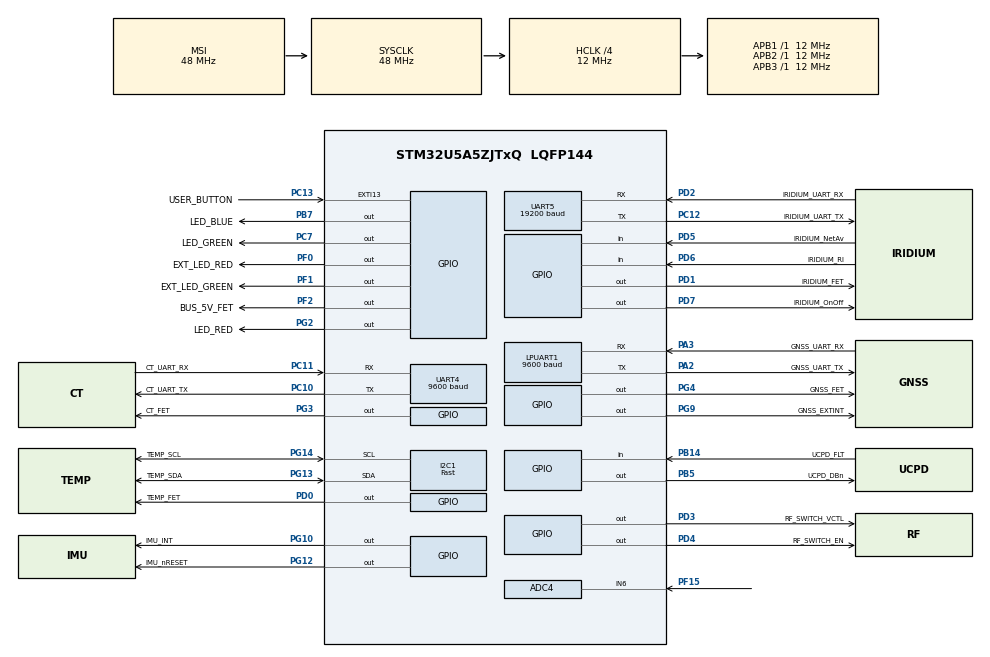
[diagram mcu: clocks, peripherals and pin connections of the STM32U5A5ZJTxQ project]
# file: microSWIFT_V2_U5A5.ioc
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ADC4.Channel-2\#ChannelRegularConversion=ADC_CHANNEL_6
ADC4.Channel-IN=ADC_CHANNEL_VREFINT
ADC4.Channel-IN6=ADC_CHANNEL_6
ADC4.ClockPrescaler=ADC_CLOCK_ASYNC_DIV32
ADC4.ContinuousConvMode=ENABLE
ADC4.DMAContinuousRequests=DISABLE
ADC4.DataAlign=ADC_DATAALIGN_RIGHT
ADC4.EOCSelection=ADC_EOC_SEQ_CONV
ADC4.EnableAnalogWatchDog1=false
ADC4.EnableAnalogWatchDog2=false
ADC4.EnableAnalogWatchDog3=false
ADC4.EnableRegularConversion=ENABLE
ADC4.ExternalTrigConv=ADC_SOFTWARE_START
ADC4.ExternalTrigConvEdge=ADC_EXTERNALTRIGCONVEDGE_NONE
ADC4.LowPowerAutoPowerOff=ADC_LOW_POWER_NONE
ADC4.LowPowerAutoWait=DISABLE
ADC4.ModeADC4=ADC_MODE_INDEPENDENT
ADC4.NbrOfConversion=1
ADC4.OffsetNumber-2\#ChannelRegularConversion=ADC_OFFSET_NONE
ADC4.Overrun=ADC_OVR_DATA_OVERWRITTEN
ADC4.OversamplingMode=DISABLE
ADC4.Rank-2\#ChannelRegularConversion=1
ADC4.Resolution=ADC_RESOLUTION_12B
ADC4.SamplingTime-2\#ChannelRegularConversion=ADC4_SAMPLINGTIME_COMMON_1
ADC4.SamplingTimeCommon1=ADC4_SAMPLETIME_814CYCLES_5
ADC4.SamplingTimeCommon2=ADC4_SAMPLETIME_814CYCLES_5
ADC4.ScanConvMode=ADC4_SCAN_DISABLE
ADC4.SelectedChannel=ADC_CHANNEL_6|ADC_CHANNEL_VREFINT
ADC4.Sequencer=FULLY_CONFIGURABLE
ADC4.TriggerFrequencyMode=ADC_TRIGGER_FREQ_LOW
ADC4.VrefProtection=ADC_VREF_PPROT_VREFPROT
CORTEX_M33_NS.MPU_Control=__NULL
CORTEX_M33_NS.userName=CORTEX_M33
GPDMA1.BLKHWREQUEST_GPDMACH0=DMA_BREQ_SINGLE_BURST
GPDMA1.BLKHWREQUEST_GPDMACH1=DMA_BREQ_SINGLE_BURST
GPDMA1.BLKHWREQUEST_GPDMACH2=DMA_BREQ_SINGLE_BURST
GPDMA1.BLKHWREQUEST_GPDMACH3=DMA_BREQ_SINGLE_BURST
GPDMA1.BLKHWREQUEST_GPDMACH4=DMA_BREQ_SINGLE_BURST
GPDMA1.CIRCULARMODE_GPDMACH0=DISABLE
GPDMA1.CIRCULARMODE_GPDMACH1=DISABLE
GPDMA1.CIRCULARMODE_GPDMACH2=DISABLE
GPDMA1.CIRCULARMODE_GPDMACH3=DISABLE
GPDMA1.CIRCULARMODE_GPDMACH4=DISABLE
GPDMA1.ChannelPRIV_GPDMACH0=DMA_CHANNEL_PRIV
GPDMA1.ChannelPRIV_GPDMACH1=DMA_CHANNEL_NPRIV
GPDMA1.ChannelPRIV_GPDMACH2=DMA_CHANNEL_NPRIV
GPDMA1.ChannelPRIV_GPDMACH3=DMA_CHANNEL_NPRIV
GPDMA1.ChannelPRIV_GPDMACH4=DMA_CHANNEL_NPRIV
GPDMA1.DATAHANDLING_GPDMACH0=NONE
GPDMA1.DATAHANDLING_GPDMACH1=NONE
GPDMA1.DATAHANDLING_GPDMACH2=NONE
GPDMA1.DATAHANDLING_GPDMACH3=NONE
GPDMA1.DATAHANDLING_GPDMACH4=NONE
GPDMA1.DESTBURSTLENGTH_GPDMACH0=1
GPDMA1.DESTBURSTLENGTH_GPDMACH1=1
GPDMA1.DESTBURSTLENGTH_GPDMACH2=1
GPDMA1.DESTBURSTLENGTH_GPDMACH3=1
GPDMA1.DESTBURSTLENGTH_GPDMACH4=1
GPDMA1.DESTDATAWIDTH_GPDMACH0=DMA_DEST_DATAWIDTH_BYTE
GPDMA1.DESTDATAWIDTH_GPDMACH1=DMA_DEST_DATAWIDTH_BYTE
GPDMA1.DESTDATAWIDTH_GPDMACH2=DMA_DEST_DATAWIDTH_BYTE
GPDMA1.DESTDATAWIDTH_GPDMACH3=DMA_DEST_DATAWIDTH_BYTE
GPDMA1.DESTDATAWIDTH_GPDMACH4=DMA_DEST_DATAWIDTH_BYTE
GPDMA1.DESTINC_GPDMACH0=DMA_DINC_INCREMENTED
GPDMA1.DESTINC_GPDMACH1=DMA_DINC_INCREMENTED
GPDMA1.DESTINC_GPDMACH2=DMA_DINC_FIXED
GPDMA1.DESTINC_GPDMACH3=DMA_DINC_INCREMENTED
GPDMA1.DESTINC_GPDMACH4=DMA_DINC_FIXED
GPDMA1.DIRECTION_GPDMACH0=DMA_PERIPH_TO_MEMORY
GPDMA1.DIRECTION_GPDMACH1=DMA_PERIPH_TO_MEMORY
GPDMA1.DIRECTION_GPDMACH2=DMA_MEMORY_TO_PERIPH
GPDMA1.DIRECTION_GPDMACH3=DMA_PERIPH_TO_MEMORY
GPDMA1.DIRECTION_GPDMACH4=DMA_MEMORY_TO_PERIPH
GPDMA1.DMAHANDLE_GPDMACH0=hdmarx
GPDMA1.DMAHANDLE_GPDMACH1=hdmarx
GPDMA1.DMAHANDLE_GPDMACH2=hdmatx
GPDMA1.DMAHANDLE_GPDMACH3=hdmarx
GPDMA1.DMAHANDLE_GPDMACH4=hdmatx
GPDMA1.IPHANDLE_GPDMACH0-SIMPLEREQUEST_GPDMACH0=__NULL
GPDMA1.IPHANDLE_GPDMACH1-SIMPLEREQUEST_GPDMACH1=__NULL
GPDMA1.IPHANDLE_GPDMACH2-SIMPLEREQUEST_GPDMACH2=__NULL
GPDMA1.IPHANDLE_GPDMACH3-SIMPLEREQUEST_GPDMACH3=__NULL
GPDMA1.IPHANDLE_GPDMACH4-SIMPLEREQUEST_GPDMACH4=__NULL
GPDMA1.MODE_GPDMACH0=DMA_NORMAL
GPDMA1.MODE_GPDMACH1=DMA_NORMAL
GPDMA1.MODE_GPDMACH2=DMA_NORMAL
GPDMA1.MODE_GPDMACH3=DMA_NORMAL
GPDMA1.MODE_GPDMACH4=DMA_NORMAL
GPDMA1.PRIORITY_GPDMACH0=DMA_LOW_PRIORITY_LOW_WEIGHT
GPDMA1.PRIORITY_GPDMACH1=DMA_LOW_PRIORITY_HIGH_WEIGHT
GPDMA1.PRIORITY_GPDMACH2=DMA_HIGH_PRIORITY
GPDMA1.PRIORITY_GPDMACH3=DMA_LOW_PRIORITY_HIGH_WEIGHT
GPDMA1.PRIORITY_GPDMACH4=DMA_HIGH_PRIORITY
GPDMA1.RECAP_GPDMACH0=GPDMA1_REQUEST_LPUART1_RX
GPDMA1.RECAP_GPDMACH1=GPDMA1_REQUEST_UART4_RX
GPDMA1.RECAP_GPDMACH2=GPDMA1_REQUEST_UART5_TX
GPDMA1.RECAP_GPDMACH3=GPDMA1_REQUEST_UART5_RX
GPDMA1.RECAP_GPDMACH4=GPDMA1_REQUEST_LPUART1_TX
GPDMA1.REQUEST_GPDMACH0=GPDMA1_REQUEST_LPUART1_RX
GPDMA1.REQUEST_GPDMACH1=GPDMA1_REQUEST_UART4_RX
GPDMA1.REQUEST_GPDMACH2=GPDMA1_REQUEST_UART5_TX
GPDMA1.REQUEST_GPDMACH3=GPDMA1_REQUEST_UART5_RX
GPDMA1.REQUEST_GPDMACH4=GPDMA1_REQUEST_LPUART1_TX
GPDMA1.SRCBURSTLENGTH_GPDMACH0=1
GPDMA1.SRCBURSTLENGTH_GPDMACH1=1
GPDMA1.SRCBURSTLENGTH_GPDMACH2=1
GPDMA1.SRCBURSTLENGTH_GPDMACH3=1
GPDMA1.SRCBURSTLENGTH_GPDMACH4=1
GPDMA1.SRCDATAWIDTH_GPDMACH0=DMA_SRC_DATAWIDTH_BYTE
GPDMA1.SRCDATAWIDTH_GPDMACH1=DMA_SRC_DATAWIDTH_BYTE
GPDMA1.SRCDATAWIDTH_GPDMACH2=DMA_SRC_DATAWIDTH_BYTE
GPDMA1.SRCDATAWIDTH_GPDMACH3=DMA_SRC_DATAWIDTH_BYTE
GPDMA1.SRCDATAWIDTH_GPDMACH4=DMA_SRC_DATAWIDTH_BYTE
GPDMA1.SRCINC_GPDMACH0=DMA_SINC_FIXED
GPDMA1.SRCINC_GPDMACH1=DMA_SINC_FIXED
GPDMA1.SRCINC_GPDMACH2=DMA_SINC_INCREMENTED
GPDMA1.SRCINC_GPDMACH3=DMA_SINC_FIXED
GPDMA1.SRCINC_GPDMACH4=DMA_SINC_INCREMENTED
GPDMA1.TRANSFERALLOCATEDPORTDEST_GPDMACH0=DMA_DEST_ALLOCATED_PORT0
GPDMA1.TRANSFERALLOCATEDPORTDEST_GPDMACH1=DMA_DEST_ALLOCATED_PORT0
GPDMA1.TRANSFERALLOCATEDPORTDEST_GPDMACH2=DMA_DEST_ALLOCATED_PORT0
GPDMA1.TRANSFERALLOCATEDPORTDEST_GPDMACH3=DMA_DEST_ALLOCATED_PORT0
GPDMA1.TRANSFERALLOCATEDPORTDEST_GPDMACH4=DMA_DEST_ALLOCATED_PORT0
GPDMA1.TRANSFERALLOCATEDPORTSRC_GPDMACH0=DMA_SRC_ALLOCATED_PORT0
GPDMA1.TRANSFERALLOCATEDPORTSRC_GPDMACH1=DMA_SRC_ALLOCATED_PORT0
GPDMA1.TRANSFERALLOCATEDPORTSRC_GPDMACH2=DMA_SRC_ALLOCATED_PORT0
GPDMA1.TRANSFERALLOCATEDPORTSRC_GPDMACH3=DMA_SRC_ALLOCATED_PORT0
GPDMA1.TRANSFERALLOCATEDPORTSRC_GPDMACH4=DMA_SRC_ALLOCATED_PORT0
GPDMA1.TRANSFEREVENTMODE_GPDMACH0=DMA_TCEM_BLOCK_TRANSFER
GPDMA1.TRANSFEREVENTMODE_GPDMACH1=DMA_TCEM_BLOCK_TRANSFER
GPDMA1.TRANSFEREVENTMODE_GPDMACH2=DMA_TCEM_BLOCK_TRANSFER
GPDMA1.TRANSFEREVENTMODE_GPDMACH3=DMA_TCEM_BLOCK_TRANSFER
GPDMA1.TRANSFEREVENTMODE_GPDMACH4=DMA_TCEM_BLOCK_TRANSFER
GPDMA1.TRIGGERPOLARITY_GPDMACH0=DMA_TRIG_POLARITY_MASKED
GPDMA1.TRIGGERPOLARITY_GPDMACH1=DMA_TRIG_POLARITY_MASKED
GPDMA1.TRIGGERPOLARITY_GPDMACH2=DMA_TRIG_POLARITY_MASKED
GPDMA1.TRIGGERPOLARITY_GPDMACH3=DMA_TRIG_POLARITY_MASKED
GPDMA1.TRIGGERPOLARITY_GPDMACH4=DMA_TRIG_POLARITY_MASKED
I2C1.AddressingMode=I2C_ADDRESSINGMODE_7BIT
I2C1.Analog_Filter=I2C_ANALOGFILTER_ENABLE
I2C1.AutonomousMode=AUTONOMOUS_MODE_DISABLE
I2C1.DualAddressMode=I2C_DUALADDRESS_DISABLE
I2C1.GeneralCallMode=I2C_GENERALCALL_DISABLE
I2C1.I2C_Coeff_DF=0
I2C1.I2C_Fall_Time=0
I2C1.I2C_Rise_Time=0
I2C1.I2C_Speed_Mode=I2C_Fast
I2C1.NoStretchMode=I2C_NOSTRETCH_DISABLE
I2C1.OwnAddress=0
I2C1.Speed=400
I2C1.Timing=0x00100413
IWDG.EWI=0
IWDG.Prescaler=IWDG_PRESCALER_512
IWDG.Reload=4094
IWDG.Window=4094
LPBAMQUEUE.Interrupt1=DISABLE
LPBAMQUEUE.Interrupt2=DISABLE
LPBAMQUEUE.Interrupt3=DISABLE
LPBAMQUEUE.Interrupt5=DISABLE
LPBAMQUEUE.Interrupt6=DISABLE
LPBAMQUEUE.PRIORITY=DMA_LOW_PRIORITY_LOW_WEIGHT
LPUART1.AutonomousMode=AUTONOMOUS_MODE_DISABLE
LPUART1.BaudRate=9600
LPUART1.ClockPrescaler=UART_PRESCALER_DIV1
LPUART1.DMADisableonRxErrorParam=UART_ADVFEATURE_DMA_ENABLEONRXERROR
LPUART1.DataInvertParam=UART_ADVFEATURE_DATAINV_DISABLE
LPUART1.FIFOMode=UART_FIFOMODE_DISABLE
LPUART1.MSBFirstParam=UART_ADVFEATURE_MSBFIRST_DISABLE
LPUART1.Mode=UART_MODE_TX_RX
LPUART1.OneBitSampling=UART_ONE_BIT_SAMPLE_DISABLE
LPUART1.OverrunDisableParam=UART_ADVFEATURE_OVERRUN_ENABLE
LPUART1.Parity=UART_PARITY_NONE
LPUART1.RXFIFOThreshold=UART_RXFIFO_THRESHOLD_1_8
LPUART1.RxPinLevelInvertParam=UART_ADVFEATURE_RXINV_DISABLE
LPUART1.StopBits=UART_STOPBITS_1
LPUART1.SwapParam=UART_ADVFEATURE_SWAP_DISABLE
LPUART1.TXFIFOThreshold=UART_TXFIFO_THRESHOLD_1_8
LPUART1.TxPinLevelInvertParam=UART_ADVFEATURE_TXINV_DISABLE
LPUART1.WordLength=UART_WORDLENGTH_8B
Mcu.Family=STM32U5
Mcu.Name=STM32U5A5ZJTxQ
Mcu.Package=LQFP144
Mcu.UserConstants=ADC_MICROVOLTS_PER_BIT,3292
NVIC.ADC4_IRQn=true\:0\:0\:false\:false\:true\:false\:false\:true\:true
NVIC.GPDMA1_Channel0_IRQn=true\:0\:0\:false\:false\:true\:false\:true\:false\:true
NVIC.GPDMA1_Channel1_IRQn=true\:0\:0\:false\:false\:true\:false\:true\:false\:true
NVIC.GPDMA1_Channel2_IRQn=true\:0\:0\:false\:false\:true\:false\:true\:false\:true
NVIC.GPDMA1_Channel3_IRQn=true\:0\:0\:false\:false\:true\:false\:true\:false\:true
NVIC.GPDMA1_Channel4_IRQn=true\:0\:0\:false\:false\:true\:false\:true\:false\:true
NVIC.IWDG_IRQn=true\:0\:0\:false\:false\:true\:false\:false\:true\:true
NVIC.LPUART1_IRQn=true\:0\:0\:false\:false\:true\:false\:false\:true\:true
NVIC.PriorityGroup=NVIC_PRIORITYGROUP_3
NVIC.TIM15_IRQn=true\:0\:0\:false\:false\:true\:false\:false\:true\:true
NVIC.TIM16_IRQn=true\:0\:0\:false\:false\:true\:false\:false\:true\:true
NVIC.TIM17_IRQn=true\:0\:0\:false\:false\:true\:false\:false\:true\:true
NVIC.TIM4_IRQn=true\:7\:0\:false\:false\:true\:false\:false\:true\:true
NVIC.TimeBase=TIM4_IRQn
NVIC.TimeBaseIP=TIM4
NVIC.UART4_IRQn=true\:0\:0\:false\:false\:true\:false\:false\:true\:true
NVIC.UART5_IRQn=true\:0\:0\:false\:false\:true\:false\:false\:true\:true
PA10.GPIO_Label=USART1_RX
PA10.GPIO_PuPd=GPIO_PULLDOWN
PA10.GPIO_Speed=GPIO_SPEED_FREQ_VERY_HIGH
PA10.Signal=USART1_RX
PA13\ (JTMS/SWDIO).Mode=Trace_Asynchronous_SW
PA13\ (JTMS/SWDIO).Signal=DEBUG_JTMS-SWDIO
PA14\ (JTCK/SWCLK).Mode=Trace_Asynchronous_SW
PA14\ (JTCK/SWCLK).Signal=DEBUG_JTCK-SWCLK
PA15\ (JTDI).GPIO_Label=UCPD1_CC1
PA15\ (JTDI).Signal=UCPD1_CC1
PA2.GPIO_Label=GNSS_UART_TX
PA2.Mode=Asynchronous
PA2.Signal=LPUART1_TX
PA3.GPIO_Label=GNSS_UART_RX
PA3.Mode=Asynchronous
PA3.Signal=LPUART1_RX
PA9.GPIO_Label=USART1_TX
PA9.GPIO_PuPd=GPIO_PULLDOWN
PA9.GPIO_Speed=GPIO_SPEED_FREQ_VERY_HIGH
PA9.Signal=USART1_TX
PB14.GPIO_Label=UCPD_FLT
PB14.Signal=GPIO_Input
PB15.GPIO_Label=UCPD1_CC2
PB15.Signal=UCPD1_CC2
PB3\ (JTDO/TRACESWO).Mode=Trace_Asynchronous_SW
PB3\ (JTDO/TRACESWO).Signal=DEBUG_JTDO-SWO
PB5.GPIO_Label=UCPD_DBn
PB5.Signal=GPIO_Output
PB7.GPIO_Label=LED_BLUE
PB7.Signal=GPIO_Output
PC10.GPIO_Label=CT_UART_TX
PC10.Mode=Asynchronous
PC10.Signal=UART4_TX
PC11.GPIO_Label=CT_UART_RX
PC11.Mode=Asynchronous
PC11.Signal=UART4_RX
PC12.GPIO_Label=IRIDIUM_UART_TX
PC12.Mode=Asynchronous
PC12.Signal=UART5_TX
PC13.GPIO_Label=USER_BUTTON
PC13.GPIO_ModeDefaultEXTI=GPIO_MODE_IT_FALLING
PC13.Signal=GPXTI13
PC14-OSC32_IN\ (PC14).Mode=LSE-External-Oscillator
PC14-OSC32_IN\ (PC14).Signal=RCC_OSC32_IN
PC15-OSC32_OUT\ (PC15).Mode=LSE-External-Oscillator
PC15-OSC32_OUT\ (PC15).Signal=RCC_OSC32_OUT
PC7.GPIO_Label=LED_GREEN
PC7.GPIO_PuPd=GPIO_PULLUP
PC7.GPIO_Speed=GPIO_SPEED_FREQ_HIGH
PC7.Signal=GPIO_Output
PD0.GPIO_Label=TEMP_FET
PD0.Signal=GPIO_Output
PD1.GPIO_Label=IRIDIUM_FET
PD1.Signal=GPIO_Output
PD2.GPIO_Label=IRIDIUM_UART_RX
PD2.Mode=Asynchronous
PD2.Signal=UART5_RX
PD3.GPIO_Label=RF_SWITCH_VCTL
PD3.Signal=GPIO_Output
PD4.GPIO_Label=RF_SWITCH_EN
PD4.Signal=GPIO_Output
PD5.GPIO_Label=IRIDIUM_NetAv
PD5.Signal=GPIO_Input
PD6.GPIO_Label=IRIDIUM_RI
PD6.Signal=GPIO_Input
PD7.GPIO_Label=IRIDIUM_OnOff
PD7.GPIO_ModeDefaultOutputPP=GPIO_MODE_OUTPUT_OD
PD7.GPIO_PuPd=GPIO_NOPULL
PD7.PinState=GPIO_PIN_SET
PD7.Signal=GPIO_Output
PF0.GPIO_Label=EXT_LED_RED
PF0.Signal=GPIO_Output
PF1.GPIO_Label=EXT_LED_GREEN
PF1.Signal=GPIO_Output
PF15.Mode=IN6
PF15.Signal=ADC4_IN6
PF2.GPIO_Label=BUS_5V_FET
PF2.Signal=GPIO_Output
PG10.GPIO_Label=IMU_INT
PG10.Signal=GPIO_Output
PG12.GPIO_Label=IMU_nRESET
PG12.Signal=GPIO_Output
PG13.GPIO_Label=TEMP_SDA
PG13.Mode=I2C
PG13.Signal=I2C1_SDA
PG14.GPIO_Label=TEMP_SCL
PG14.Mode=I2C
PG14.Signal=I2C1_SCL
PG2.GPIO_Label=LED_RED
PG2.Signal=GPIO_Output
PG3.GPIO_Label=CT_FET
PG3.Signal=GPIO_Output
PG4.GPIO_Label=GNSS_FET
PG4.Signal=GPIO_Output
PG9.GPIO_Label=GNSS_EXTINT
PG9.Signal=GPIO_Output
PWR.DMA2DPowerDownInStopMode=__NULL
PWR.Dcache1PowerDownInStopMode=__NULL
PWR.IcachePowerDownInStopMode=__NULL
PWR.PKA32RAMPowerDownInStopMode=__NULL
PWR.PeriphPowerDownInStopMode=__NULL
PWR.PowerMode=PWR_SMPS_SUPPLY
PWR.RAM1Page1PowerDownInStopMode=__NULL
PWR.RAM1Page2PowerDownInStopMode=__NULL
PWR.RAM1Page3PowerDownInStopMode=__NULL
PWR.RAM2Page1PowerDownInStopMode=__NULL
PWR.RAM2Page2PowerDownInStopMode=__NULL
PWR.RAM3Page1PowerDownInStopMode=__NULL
PWR.RAM3Page2PowerDownInStopMode=__NULL
PWR.RAM3Page3PowerDownInStopMode=__NULL
PWR.RAM3Page4PowerDownInStopMode=__NULL
PWR.RAM3Page5PowerDownInStopMode=__NULL
PWR.RAM3Page6PowerDownInStopMode=__NULL
PWR.RAM3Page7PowerDownInStopMode=__NULL
PWR.RAM3Page8PowerDownInStopMode=__NULL
PWR.SRAM1PowerDownInRunMode=__NULL
PWR.SRAM2PowerDownInRunMode=__NULL
PWR.SRAM3PowerDownInRunMode=__NULL
PWR.SRAM4FastDownInRunMode=__NULL
PWR.SRAM4PowerDownInRunMode=__NULL
PWR.SRAM4PowerDownInStopMode=__NULL
PWR.pwrPrivilege=PWR_PRIVILEGE_NO
ProjectManager.HeapSize=0x200
ProjectManager.StackSize=0x400
ProjectManager.TargetToolchain=STM32CubeIDE
RCC.ADCFreq_Value=16000000
RCC.AHBCLKDivider=RCC_SYSCLK_DIV4
RCC.AHBFreq_Value=12000000
RCC.APB1Freq_Value=12000000
RCC.APB1TimFreq_Value=12000000
RCC.APB2Freq_Value=12000000
RCC.APB2TimFreq_Value=12000000
RCC.APB3Freq_Value=12000000
RCC.CortexFreq_Value=12000000
RCC.EPOD_VALUE=48000000
RCC.HCLKFreq_Value=12000000
RCC.HSE_VALUE=16000000
RCC.HSI48_VALUE=48000000
RCC.HSI_VALUE=16000000
RCC.LSE_Drive_Capability=RCC_LSEDRIVE_HIGH
RCC.LSIDIV_VALUE=32000
RCC.MSIAutoCalibration=PLLMODE_MSIS
RCC.MSIClockRange=RCC_MSIRANGE_0
RCC.MSI_VALUE=48000000
RCC.SYSCLKFreq_VALUE=48000000
RCC.VCOOutputFreq_Value=6192000000
RTC.AsynchPrediv=127
RTC.BinMixBcdU=RTC_BINARY_MIX_BCDU_0
RTC.BinMode=RTC_BINARY_MIX
RTC.Date=2
RTC.DayLightSaving=RTC_DAYLIGHTSAVING_NONE
RTC.Format=RTC_FORMAT_BIN
RTC.HourFormat=RTC_HOURFORMAT_24
RTC.Hours=2
RTC.Minutes=2
RTC.Month=RTC_MONTH_JANUARY
RTC.RTC_PRIVILEGE_FEATURE_ALRA=__NULL
RTC.RTC_PRIVILEGE_FEATURE_ALRB=__NULL
RTC.RTC_PRIVILEGE_FEATURE_CAL=__NULL
RTC.RTC_PRIVILEGE_FEATURE_INIT=__NULL
RTC.RTC_PRIVILEGE_FEATURE_TS=__NULL
RTC.RTC_PRIVILEGE_FEATURE_WUT=__NULL
RTC.SSRU_Underflow_Interrupt=Disable
RTC.Seconds=2
RTC.StoreOperation=RTC_STOREOPERATION_RESET
RTC.SynchPrediv=255
RTC.WeekDay=RTC_WEEKDAY_MONDAY
RTC.Year=0
RTC.backupRegisterPrivZone=RTC_PRIVILEGE_BKUP_ZONE_NONE
RTC.backupRegisterStartZone2_g=0
RTC.backupRegisterStartZone3_g=0
RTC.rtcPrivilegeFull=RTC_PRIVILEGE_FULL_NO
THREADX.TX_APP_MEM_POOL_SIZE=45904
THREADX.TX_MINIMUM_STACK=256
THREADX.TX_TIMER_TICKS_PER_SECOND=10
TIM15.AutoReloadPreload=TIM_AUTORELOAD_PRELOAD_DISABLE
TIM15.ClockDivision=TIM_CLOCKDIVISION_DIV1
TIM15.CounterMode=TIM_COUNTERMODE_UP
TIM15.Dithering=Disable
TIM15.PeriodNoDither=59999
TIM15.Prescaler=12000
TIM15.RepetitionCounter=60
TIM15.TIM_MasterOutputTrigger=TIM_TRGO_RESET
TIM15.TIM_MasterSlaveMode=TIM_MASTERSLAVEMODE_DISABLE
TIM16.AutoReloadPreload=TIM_AUTORELOAD_PRELOAD_DISABLE
TIM16.ClockDivision=TIM_CLOCKDIVISION_DIV1
TIM16.CounterMode=TIM_COUNTERMODE_UP
TIM16.Dithering=Disable
TIM16.PeriodNoDither=59999
TIM16.Prescaler=12000
TIM16.RepetitionCounter=0
TIM17.AutoReloadPreload=TIM_AUTORELOAD_PRELOAD_DISABLE
TIM17.ClockDivision=TIM_CLOCKDIVISION_DIV1
TIM17.CounterMode=TIM_COUNTERMODE_UP
TIM17.Dithering=Disable
TIM17.PeriodNoDither=59999
TIM17.Prescaler=12000
TIM17.RepetitionCounter=10
UART4.AutoBaudRateEnableParam=UART_ADVFEATURE_AUTOBAUDRATE_DISABLE
UART4.AutonomousMode=AUTONOMOUS_MODE_DISABLE
UART4.BaudRate=9600
UART4.ClockPrescaler=PRESCALER_DIV1
UART4.DMADisableonRxErrorParam=UART_ADVFEATURE_DMA_ENABLEONRXERROR
UART4.DataInvertParam=UART_ADVFEATURE_DATAINV_DISABLE
UART4.FIFOMode=FIFOMODE_DISABLE
UART4.MSBFirstParam=UART_ADVFEATURE_MSBFIRST_DISABLE
UART4.Mode=MODE_TX_RX
UART4.OneBitSampling=UART_ONE_BIT_SAMPLE_DISABLE
UART4.OverSampling=UART_OVERSAMPLING_16
UART4.OverrunDisableParam=UART_ADVFEATURE_OVERRUN_ENABLE
UART4.Parity=PARITY_NONE
UART4.RXFIFOThreshold=RXFIFO_THRESHOLD_1EIGHTHFULL
UART4.RxPinLevelInvertParam=UART_ADVFEATURE_RXINV_DISABLE
UART4.StopBits=UART_STOPBITS_1
UART4.SwapParam=UART_ADVFEATURE_SWAP_DISABLE
UART4.TXFIFOThreshold=TXFIFO_THRESHOLD_1EIGHTHFULL
UART4.TxPinLevelInvertParam=UART_ADVFEATURE_TXINV_DISABLE
UART4.WordLength=WORDLENGTH_8B
UART5.AutoBaudRateEnableParam=UART_ADVFEATURE_AUTOBAUDRATE_DISABLE
UART5.AutonomousMode=AUTONOMOUS_MODE_DISABLE
UART5.BaudRate=19200
UART5.ClockPrescaler=PRESCALER_DIV1
UART5.DMADisableonRxErrorParam=UART_ADVFEATURE_DMA_ENABLEONRXERROR
UART5.DataInvertParam=UART_ADVFEATURE_DATAINV_DISABLE
UART5.FIFOMode=FIFOMODE_DISABLE
UART5.MSBFirstParam=UART_ADVFEATURE_MSBFIRST_DISABLE
UART5.Mode=MODE_TX_RX
UART5.OneBitSampling=UART_ONE_BIT_SAMPLE_DISABLE
UART5.OverSampling=UART_OVERSAMPLING_16
UART5.OverrunDisableParam=UART_ADVFEATURE_OVERRUN_ENABLE
UART5.Parity=PARITY_NONE
UART5.RXFIFOThreshold=RXFIFO_THRESHOLD_1EIGHTHFULL
UART5.RxPinLevelInvertParam=UART_ADVFEATURE_RXINV_DISABLE
UART5.StopBits=UART_STOPBITS_1
UART5.SwapParam=UART_ADVFEATURE_SWAP_DISABLE
UART5.TXFIFOThreshold=TXFIFO_THRESHOLD_1EIGHTHFULL
UART5.TxPinLevelInvertParam=UART_ADVFEATURE_TXINV_DISABLE
UART5.WordLength=WORDLENGTH_8B
VP_ADC4_Vref_Input.Mode=IN-Vrefint
VP_GPDMA1_VS_GPDMACH0.Mode=SIMPLEREQUEST_GPDMACH0
VP_GPDMA1_VS_GPDMACH1.Mode=SIMPLEREQUEST_GPDMACH1
VP_GPDMA1_VS_GPDMACH2.Mode=SIMPLEREQUEST_GPDMACH2
VP_GPDMA1_VS_GPDMACH3.Mode=SIMPLEREQUEST_GPDMACH3
VP_GPDMA1_VS_GPDMACH4.Mode=SIMPLEREQUEST_GPDMACH4
VP_ICACHE_VS_ICACHE.Mode=DirectMappedCache
VP_IWDG_VS_IWDG.Mode=IWDG_Activate
VP_LPBAMQUEUE_VS_QUEUE.Mode=QUEUEMODE
VP_LPBAM_VS_SIG1.Mode=SmartRun
VP_LPBAM_VS_SIG4.Mode=LPDMA1
VP_MEMORYMAP_VS_MEMORYMAP.Mode=CurAppReg
VP_PWR_VS_DBSignals.Mode=DisableDeadBatterySignals
VP_PWR_VS_LPOM.Mode=PowerOptimisation
VP_PWR_VS_SECSignals.Mode=Security/Privilege
VP_PWR_Vdda.Mode=isolationVdda
VP_RTC_VS_RTC_Activate.Mode=RTC_Enabled
VP_RTC_VS_RTC_Calendar.Mode=RTC_Calendar
VP_SYS_VS_tim4.Mode=TIM4
VP_THREADX_VS_RTOSJjThreadXJjCoreJjDefault.Mode=Core_Default
VP_TIM15_VS_ClockSourceINT.Mode=Internal
VP_TIM16_VS_ClockSourceINT.Mode=Enable_Timer
VP_TIM17_VS_ClockSourceINT.Mode=Enable_Timer
VREF+.Mode=InternalMode
VREF+.Signal=VREFBUF_OUT
VREFBUF.TrimmingMode=__NULL
VREFBUF.VoltageScaling=SYSCFG_VREFBUF_VOLTAGE_SCALE1
board=NUCLEO-U575ZI-Q

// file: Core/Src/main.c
/* USER CODE BEGIN Header */
/**
  ******************************************************************************
  * @file           : main.c
  * @brief          : Main program body
  ******************************************************************************
  * @attention
  *
  * Copyright (c) 2022 STMicroelectronics.
  * All rights reserved.
  *
  * This software is licensed under terms that can be found in the LICENSE file
  * in the root directory of this software component.
  * If no LICENSE file comes with this software, it is provided AS-IS.
  *
  ******************************************************************************
*/
/* USER CODE END Header */
#include "app_threadx.h"
#include "main.h"

/* USER CODE BEGIN Includes */
#include "tx_api.h"
#include "Peripherals/iridium.h"
/* USER CODE END Includes */

ADC_HandleTypeDef hadc4;

I2C_HandleTypeDef hi2c1;

IWDG_HandleTypeDef hiwdg;

UART_HandleTypeDef hlpuart1;
UART_HandleTypeDef huart4;
UART_HandleTypeDef huart5;
DMA_HandleTypeDef handle_GPDMA1_Channel4;
DMA_HandleTypeDef handle_GPDMA1_Channel0;
DMA_HandleTypeDef handle_GPDMA1_Channel1;
DMA_HandleTypeDef handle_GPDMA1_Channel3;
DMA_HandleTypeDef handle_GPDMA1_Channel2;

RTC_HandleTypeDef hrtc;

TIM_HandleTypeDef htim15;
TIM_HandleTypeDef htim16;
TIM_HandleTypeDef htim17;

/* USER CODE BEGIN PV */
// Messages that failed to send are stored here
__attribute__((section(".noinit_section"))) volatile Iridium_message_storage sbd_message_queue;
__attribute__((section(".noinit_section"))) volatile uint32_t sample_window_counter;
/* USER CODE END PV */

void SystemClock_Config(void);
static void SystemPower_Config(void);
static void MX_GPIO_Init(void);
static void MX_GPDMA1_Init(void);
static void MX_RTC_Init(void);
static void MX_ICACHE_Init(void);
static void MX_UART4_Init(void);
static void MX_UART5_Init(void);
static void MX_ADC4_Init(void);
static void MX_TIM17_Init(void);
static void MX_LPUART1_UART_Init(void);
static void MX_IWDG_Init(void);
static void MX_TIM16_Init(void);
static void MX_TIM15_Init(void);
static void MX_I2C1_Init(void);
/* USER CODE BEGIN PFP */
extern void shut_it_all_down(void);
/* USER CODE END PFP */

int main(void)
{

  /* MCU Configuration--------------------------------------------------------*/

  /* Reset of all peripherals, Initializes the Flash interface and the Systick. */
  HAL_Init();

  /* USER CODE BEGIN Init */
  // Force the reset of the RTC and clear anything in the backup domain
  HAL_PWR_EnableBkUpAccess();
  __HAL_RCC_BACKUPRESET_FORCE();
  __HAL_RCC_BACKUPRESET_RELEASE();
  /* USER CODE END Init */

  /* Configure the system clock */
  SystemClock_Config();

  /* Configure the System Power */
  SystemPower_Config();

  /* USER CODE BEGIN SysInit */
  /*
   * !!!!!!!!!!!!!!!!!!!!!!!!!!!!!!!!!!!!!!!!!!!!!!!!!!!!!!!!!!!!!!!!!!!!!!!!!!!!!
   *
   * DO
   * NOT
   * EVER
   * CALL
   *
   * HAL_DBGMCU_EnableDBGStopMode()
   *
   * WHEN
   * USING
   * RTC
   * AS
   * WAKEUP
   * SOURCE!!!
   *
   * RE-READ
   * THE
   * ERRATA
   * IF
   * YOU'VE
   * FORGOTTEN
   * WHY
   * !!!!!!!!!!!!!!!!!!!!!!!!!!!!!!!!!!!!!!!!!!!!!!!!!!!!!!!!!!!!!!!!!!!!!!!!!!!!!
   */

  /* USER CODE END SysInit */

  /* Initialize all configured peripherals */
  MX_GPIO_Init();
  MX_GPDMA1_Init();
  MX_RTC_Init();
  MX_ICACHE_Init();
  MX_UART4_Init();
  MX_UART5_Init();
  MX_ADC4_Init();
  MX_TIM17_Init();
  MX_LPUART1_UART_Init();
  MX_IWDG_Init();
  MX_TIM16_Init();
  MX_TIM15_Init();
  MX_I2C1_Init();
  /* USER CODE BEGIN 2 */

  uint32_t reset_reason = HAL_RCC_GetResetSource();

  device_handles_t handles;

  handles.hrtc = &hrtc;
  handles.CT_uart = &huart4;
  handles.Iridium_uart = &huart5;
  handles.GNSS_uart = &hlpuart1;
  handles.CT_dma_handle = &handle_GPDMA1_Channel1;
  handles.GNSS_rx_dma_handle = &handle_GPDMA1_Channel0;
  handles.GNSS_tx_dma_handle = &handle_GPDMA1_Channel4;
  handles.Iridium_tx_dma_handle = &handle_GPDMA1_Channel2;
  handles.Iridium_rx_dma_handle = &handle_GPDMA1_Channel3;
  handles.iridium_timer = &htim17;
  handles.gnss_timer = &htim16;
  handles.watchdog_handle = &hiwdg;
  handles.watchdog_hour_timer = &htim15;
  handles.battery_adc = &hadc4;
  handles.reset_reason = reset_reason;
  handles.temp_i2c_handle = &hi2c1;

  MX_ThreadX_Init(&handles);
  /* USER CODE END 2 */

  /* We should never get here as control is now taken by the scheduler */
  /* Infinite loop */
  /* USER CODE BEGIN WHILE */
  while (1)
  {
	  shut_it_all_down();
	  HAL_NVIC_SystemReset();
    /* USER CODE END WHILE */

  }
}

void SystemClock_Config(void)
{
  RCC_OscInitTypeDef RCC_OscInitStruct = {0};
  RCC_ClkInitTypeDef RCC_ClkInitStruct = {0};

  /** Configure the main internal regulator output voltage
  */
  if (HAL_PWREx_ControlVoltageScaling(PWR_REGULATOR_VOLTAGE_SCALE3) != HAL_OK)
  {
    Error_Handler();
  }

  /** Configure LSE Drive Capability
  */
  HAL_PWR_EnableBkUpAccess();
  __HAL_RCC_LSEDRIVE_CONFIG(RCC_LSEDRIVE_HIGH);

  /** Initializes the CPU, AHB and APB buses clocks
  */
  RCC_OscInitStruct.OscillatorType = RCC_OSCILLATORTYPE_HSI|RCC_OSCILLATORTYPE_LSI
                              |RCC_OSCILLATORTYPE_LSE|RCC_OSCILLATORTYPE_MSI;
  RCC_OscInitStruct.LSEState = RCC_LSE_ON;
  RCC_OscInitStruct.HSIState = RCC_HSI_ON;
  RCC_OscInitStruct.HSICalibrationValue = RCC_HSICALIBRATION_DEFAULT;
  RCC_OscInitStruct.LSIState = RCC_LSI_ON;
  RCC_OscInitStruct.MSIState = RCC_MSI_ON;
  RCC_OscInitStruct.MSICalibrationValue = RCC_MSICALIBRATION_DEFAULT;
  RCC_OscInitStruct.MSIClockRange = RCC_MSIRANGE_0;
  RCC_OscInitStruct.LSIDiv = RCC_LSI_DIV1;
  RCC_OscInitStruct.PLL.PLLState = RCC_PLL_NONE;
  if (HAL_RCC_OscConfig(&RCC_OscInitStruct) != HAL_OK)
  {
    Error_Handler();
  }

  /** Initializes the CPU, AHB and APB buses clocks
  */
  RCC_ClkInitStruct.ClockType = RCC_CLOCKTYPE_HCLK|RCC_CLOCKTYPE_SYSCLK
                              |RCC_CLOCKTYPE_PCLK1|RCC_CLOCKTYPE_PCLK2
                              |RCC_CLOCKTYPE_PCLK3;
  RCC_ClkInitStruct.SYSCLKSource = RCC_SYSCLKSOURCE_MSI;
  RCC_ClkInitStruct.AHBCLKDivider = RCC_SYSCLK_DIV4;
  RCC_ClkInitStruct.APB1CLKDivider = RCC_HCLK_DIV1;
  RCC_ClkInitStruct.APB2CLKDivider = RCC_HCLK_DIV1;
  RCC_ClkInitStruct.APB3CLKDivider = RCC_HCLK_DIV1;

  if (HAL_RCC_ClockConfig(&RCC_ClkInitStruct, FLASH_LATENCY_0) != HAL_OK)
  {
    Error_Handler();
  }

  /** Enable MSI Auto calibration
  */
  HAL_RCCEx_EnableMSIPLLModeSelection(RCC_MSISPLL_MODE_SEL);
  HAL_RCCEx_EnableMSIPLLMode();
}

/**
  * @brief Power Configuration
  * @retval None
  */
static void SystemPower_Config(void)
{
  HAL_PWREx_EnableVddIO2();

  /*
   * Disable the internal Pull-Up in Dead Battery pins of UCPD peripheral
   */
  HAL_PWREx_DisableUCPDDeadBattery();

  /*
   * Switch to SMPS regulator instead of LDO
   */
  if (HAL_PWREx_ConfigSupply(PWR_SMPS_SUPPLY) != HAL_OK)
  {
    Error_Handler();
  }
}

static void MX_ADC4_Init(void)
{

  ADC_ChannelConfTypeDef sConfig = {0};

  /** Common config
  */
  hadc4.Instance = ADC4;
  hadc4.Init.ClockPrescaler = ADC_CLOCK_ASYNC_DIV32;
  hadc4.Init.Resolution = ADC_RESOLUTION_12B;
  hadc4.Init.DataAlign = ADC_DATAALIGN_RIGHT;
  hadc4.Init.ScanConvMode = ADC4_SCAN_DISABLE;
  hadc4.Init.EOCSelection = ADC_EOC_SEQ_CONV;
  hadc4.Init.LowPowerAutoPowerOff = ADC_LOW_POWER_NONE;
  hadc4.Init.LowPowerAutoWait = DISABLE;
  hadc4.Init.ContinuousConvMode = ENABLE;
  hadc4.Init.NbrOfConversion = 1;
  hadc4.Init.ExternalTrigConv = ADC_SOFTWARE_START;
  hadc4.Init.ExternalTrigConvEdge = ADC_EXTERNALTRIGCONVEDGE_NONE;
  hadc4.Init.DMAContinuousRequests = DISABLE;
  hadc4.Init.TriggerFrequencyMode = ADC_TRIGGER_FREQ_LOW;
  hadc4.Init.VrefProtection = ADC_VREF_PPROT_VREFPROT;
  hadc4.Init.Overrun = ADC_OVR_DATA_OVERWRITTEN;
  hadc4.Init.SamplingTimeCommon1 = ADC4_SAMPLETIME_814CYCLES_5;
  hadc4.Init.SamplingTimeCommon2 = ADC4_SAMPLETIME_814CYCLES_5;
  hadc4.Init.OversamplingMode = DISABLE;
  if (HAL_ADC_Init(&hadc4) != HAL_OK)
  {
    Error_Handler();
  }

  /** Configure Regular Channel
  */
  sConfig.Channel = ADC_CHANNEL_6;
  sConfig.Rank = ADC_REGULAR_RANK_1;
  sConfig.SamplingTime = ADC4_SAMPLINGTIME_COMMON_1;
  sConfig.OffsetNumber = ADC_OFFSET_NONE;
  sConfig.Offset = 0;
  if (HAL_ADC_ConfigChannel(&hadc4, &sConfig) != HAL_OK)
  {
    Error_Handler();
  }

}

static void MX_GPDMA1_Init(void)
{

  /* Peripheral clock enable */
  __HAL_RCC_GPDMA1_CLK_ENABLE();

  /* GPDMA1 interrupt Init */
    HAL_NVIC_SetPriority(GPDMA1_Channel0_IRQn, 0, 0);
    HAL_NVIC_EnableIRQ(GPDMA1_Channel0_IRQn);
    HAL_NVIC_SetPriority(GPDMA1_Channel1_IRQn, 0, 0);
    HAL_NVIC_EnableIRQ(GPDMA1_Channel1_IRQn);
    HAL_NVIC_SetPriority(GPDMA1_Channel2_IRQn, 0, 0);
    HAL_NVIC_EnableIRQ(GPDMA1_Channel2_IRQn);
    HAL_NVIC_SetPriority(GPDMA1_Channel3_IRQn, 0, 0);
    HAL_NVIC_EnableIRQ(GPDMA1_Channel3_IRQn);
    HAL_NVIC_SetPriority(GPDMA1_Channel4_IRQn, 0, 0);
    HAL_NVIC_EnableIRQ(GPDMA1_Channel4_IRQn);

  /* USER CODE BEGIN GPDMA1_Init 1 */
#if !CT_ENABLED
    HAL_NVIC_DisableIRQ(GPDMA1_Channel1_IRQn);
#endif

  /* USER CODE END GPDMA1_Init 1 */

}

static void MX_I2C1_Init(void)
{

  hi2c1.Instance = I2C1;
  hi2c1.Init.Timing = 0x00100413;
  hi2c1.Init.OwnAddress1 = 0;
  hi2c1.Init.AddressingMode = I2C_ADDRESSINGMODE_7BIT;
  hi2c1.Init.DualAddressMode = I2C_DUALADDRESS_DISABLE;
  hi2c1.Init.OwnAddress2 = 0;
  hi2c1.Init.OwnAddress2Masks = I2C_OA2_NOMASK;
  hi2c1.Init.GeneralCallMode = I2C_GENERALCALL_DISABLE;
  hi2c1.Init.NoStretchMode = I2C_NOSTRETCH_DISABLE;
  if (HAL_I2C_Init(&hi2c1) != HAL_OK)
  {
    Error_Handler();
  }

  /** Configure Analogue filter
  */
  if (HAL_I2CEx_ConfigAnalogFilter(&hi2c1, I2C_ANALOGFILTER_ENABLE) != HAL_OK)
  {
    Error_Handler();
  }

  /** Configure Digital filter
  */
  if (HAL_I2CEx_ConfigDigitalFilter(&hi2c1, 0) != HAL_OK)
  {
    Error_Handler();
  }

}

static void MX_ICACHE_Init(void)
{

  /** Enable instruction cache in 1-way (direct mapped cache)
  */
  if (HAL_ICACHE_ConfigAssociativityMode(ICACHE_1WAY) != HAL_OK)
  {
    Error_Handler();
  }
  if (HAL_ICACHE_Enable() != HAL_OK)
  {
    Error_Handler();
  }

}

static void MX_IWDG_Init(void)
{

  hiwdg.Instance = IWDG;
  hiwdg.Init.Prescaler = IWDG_PRESCALER_512;
  hiwdg.Init.Window = 4094;
  hiwdg.Init.Reload = 4094;
  hiwdg.Init.EWI = 0;
  if (HAL_IWDG_Init(&hiwdg) != HAL_OK)
  {
    Error_Handler();
  }

}

static void MX_LPUART1_UART_Init(void)
{

  hlpuart1.Instance = LPUART1;
  hlpuart1.Init.BaudRate = 9600;
  hlpuart1.Init.WordLength = UART_WORDLENGTH_8B;
  hlpuart1.Init.StopBits = UART_STOPBITS_1;
  hlpuart1.Init.Parity = UART_PARITY_NONE;
  hlpuart1.Init.Mode = UART_MODE_TX_RX;
  hlpuart1.Init.HwFlowCtl = UART_HWCONTROL_NONE;
  hlpuart1.Init.OneBitSampling = UART_ONE_BIT_SAMPLE_DISABLE;
  hlpuart1.AdvancedInit.AdvFeatureInit = UART_ADVFEATURE_NO_INIT;
  hlpuart1.FifoMode = UART_FIFOMODE_DISABLE;
  if (HAL_UART_Init(&hlpuart1) != HAL_OK)
  {
    Error_Handler();
  }
  if (HAL_UARTEx_SetTxFifoThreshold(&hlpuart1, UART_TXFIFO_THRESHOLD_1_8) != HAL_OK)
  {
    Error_Handler();
  }
  if (HAL_UARTEx_SetRxFifoThreshold(&hlpuart1, UART_RXFIFO_THRESHOLD_1_8) != HAL_OK)
  {
    Error_Handler();
  }
  if (HAL_UARTEx_DisableFifoMode(&hlpuart1) != HAL_OK)
  {
    Error_Handler();
  }

}

static void MX_UART4_Init(void)
{

  huart4.Instance = UART4;
  huart4.Init.BaudRate = 9600;
  huart4.Init.WordLength = UART_WORDLENGTH_8B;
  huart4.Init.StopBits = UART_STOPBITS_1;
  huart4.Init.Parity = UART_PARITY_NONE;
  huart4.Init.Mode = UART_MODE_TX_RX;
  huart4.Init.HwFlowCtl = UART_HWCONTROL_NONE;
  huart4.Init.OverSampling = UART_OVERSAMPLING_16;
  huart4.Init.OneBitSampling = UART_ONE_BIT_SAMPLE_DISABLE;
  huart4.Init.ClockPrescaler = UART_PRESCALER_DIV1;
  huart4.AdvancedInit.AdvFeatureInit = UART_ADVFEATURE_NO_INIT;
  if (HAL_UART_Init(&huart4) != HAL_OK)
  {
    Error_Handler();
  }
  if (HAL_UARTEx_SetTxFifoThreshold(&huart4, UART_TXFIFO_THRESHOLD_1_8) != HAL_OK)
  {
    Error_Handler();
  }
  if (HAL_UARTEx_SetRxFifoThreshold(&huart4, UART_RXFIFO_THRESHOLD_1_8) != HAL_OK)
  {
    Error_Handler();
  }
  if (HAL_UARTEx_DisableFifoMode(&huart4) != HAL_OK)
  {
    Error_Handler();
  }

}

static void MX_UART5_Init(void)
{

  huart5.Instance = UART5;
  huart5.Init.BaudRate = 19200;
  huart5.Init.WordLength = UART_WORDLENGTH_8B;
  huart5.Init.StopBits = UART_STOPBITS_1;
  huart5.Init.Parity = UART_PARITY_NONE;
  huart5.Init.Mode = UART_MODE_TX_RX;
  huart5.Init.HwFlowCtl = UART_HWCONTROL_NONE;
  huart5.Init.OverSampling = UART_OVERSAMPLING_16;
  huart5.Init.OneBitSampling = UART_ONE_BIT_SAMPLE_DISABLE;
  huart5.Init.ClockPrescaler = UART_PRESCALER_DIV1;
  huart5.AdvancedInit.AdvFeatureInit = UART_ADVFEATURE_NO_INIT;
  if (HAL_UART_Init(&huart5) != HAL_OK)
  {
    Error_Handler();
  }
  if (HAL_UARTEx_SetTxFifoThreshold(&huart5, UART_TXFIFO_THRESHOLD_1_8) != HAL_OK)
  {
    Error_Handler();
  }
  if (HAL_UARTEx_SetRxFifoThreshold(&huart5, UART_RXFIFO_THRESHOLD_1_8) != HAL_OK)
  {
    Error_Handler();
  }
  if (HAL_UARTEx_DisableFifoMode(&huart5) != HAL_OK)
  {
    Error_Handler();
  }

}

static void MX_RTC_Init(void)
{

  RTC_PrivilegeStateTypeDef privilegeState = {0};
  RTC_TimeTypeDef sTime = {0};
  RTC_DateTypeDef sDate = {0};

  /** Initialize RTC Only
  */
  hrtc.Instance = RTC;
  hrtc.Init.HourFormat = RTC_HOURFORMAT_24;
  hrtc.Init.AsynchPrediv = 127;
  hrtc.Init.SynchPrediv = 255;
  hrtc.Init.OutPut = RTC_OUTPUT_DISABLE;
  hrtc.Init.OutPutRemap = RTC_OUTPUT_REMAP_NONE;
  hrtc.Init.OutPutPolarity = RTC_OUTPUT_POLARITY_HIGH;
  hrtc.Init.OutPutType = RTC_OUTPUT_TYPE_OPENDRAIN;
  hrtc.Init.OutPutPullUp = RTC_OUTPUT_PULLUP_NONE;
  hrtc.Init.BinMode = RTC_BINARY_MIX;
  hrtc.Init.BinMixBcdU = RTC_BINARY_MIX_BCDU_0;
  if (HAL_RTC_Init(&hrtc) != HAL_OK)
  {
    Error_Handler();
  }
  privilegeState.rtcPrivilegeFull = RTC_PRIVILEGE_FULL_NO;
  privilegeState.backupRegisterPrivZone = RTC_PRIVILEGE_BKUP_ZONE_NONE;
  privilegeState.backupRegisterStartZone2 = RTC_BKP_DR0;
  privilegeState.backupRegisterStartZone3 = RTC_BKP_DR0;
  if (HAL_RTCEx_PrivilegeModeSet(&hrtc, &privilegeState) != HAL_OK)
  {
    Error_Handler();
  }

  /** Initialize RTC and set the Time and Date
  */
  sTime.Hours = 2;
  sTime.Minutes = 2;
  sTime.Seconds = 2;
  sTime.DayLightSaving = RTC_DAYLIGHTSAVING_NONE;
  sTime.StoreOperation = RTC_STOREOPERATION_RESET;
  if (HAL_RTC_SetTime(&hrtc, &sTime, RTC_FORMAT_BIN) != HAL_OK)
  {
    Error_Handler();
  }
  sDate.WeekDay = RTC_WEEKDAY_MONDAY;
  sDate.Month = RTC_MONTH_JANUARY;
  sDate.Date = 2;
  sDate.Year = 0;

  if (HAL_RTC_SetDate(&hrtc, &sDate, RTC_FORMAT_BIN) != HAL_OK)
  {
    Error_Handler();
  }
  /* USER CODE BEGIN RTC_Init 2 */

  // Enable RTC low power calibration
  if (HAL_RTCEx_SetLowPowerCalib(&hrtc, RTC_LPCAL_SET) != HAL_OK)
  {
	  Error_Handler();
  }
  HAL_NVIC_SetPriority(RTC_IRQn, 1, 1);
  /* USER CODE END RTC_Init 2 */

}

static void MX_TIM15_Init(void)
{

  TIM_ClockConfigTypeDef sClockSourceConfig = {0};
  TIM_MasterConfigTypeDef sMasterConfig = {0};

  htim15.Instance = TIM15;
  htim15.Init.Prescaler = 12000;
  htim15.Init.CounterMode = TIM_COUNTERMODE_UP;
  htim15.Init.Period = 59999;
  htim15.Init.ClockDivision = TIM_CLOCKDIVISION_DIV1;
  htim15.Init.RepetitionCounter = 60;
  htim15.Init.AutoReloadPreload = TIM_AUTORELOAD_PRELOAD_DISABLE;
  if (HAL_TIM_Base_Init(&htim15) != HAL_OK)
  {
    Error_Handler();
  }
  sClockSourceConfig.ClockSource = TIM_CLOCKSOURCE_INTERNAL;
  if (HAL_TIM_ConfigClockSource(&htim15, &sClockSourceConfig) != HAL_OK)
  {
    Error_Handler();
  }
  sMasterConfig.MasterOutputTrigger = TIM_TRGO_RESET;
  sMasterConfig.MasterSlaveMode = TIM_MASTERSLAVEMODE_DISABLE;
  if (HAL_TIMEx_MasterConfigSynchronization(&htim15, &sMasterConfig) != HAL_OK)
  {
    Error_Handler();
  }
  /* USER CODE BEGIN TIM15_Init 2 */
  HAL_TIM_Base_Start_IT(&htim15);
  /* USER CODE END TIM15_Init 2 */

}

static void MX_TIM16_Init(void)
{

  htim16.Instance = TIM16;
  htim16.Init.Prescaler = 12000;
  htim16.Init.CounterMode = TIM_COUNTERMODE_UP;
  htim16.Init.Period = 59999;
  htim16.Init.ClockDivision = TIM_CLOCKDIVISION_DIV1;
  htim16.Init.RepetitionCounter = 0;
  htim16.Init.AutoReloadPreload = TIM_AUTORELOAD_PRELOAD_DISABLE;
  if (HAL_TIM_Base_Init(&htim16) != HAL_OK)
  {
    Error_Handler();
  }

}

static void MX_TIM17_Init(void)
{

  htim17.Instance = TIM17;
  htim17.Init.Prescaler = 12000;
  htim17.Init.CounterMode = TIM_COUNTERMODE_UP;
  htim17.Init.Period = 59999;
  htim17.Init.ClockDivision = TIM_CLOCKDIVISION_DIV1;
  htim17.Init.RepetitionCounter = 10;
  htim17.Init.AutoReloadPreload = TIM_AUTORELOAD_PRELOAD_DISABLE;
  if (HAL_TIM_Base_Init(&htim17) != HAL_OK)
  {
    Error_Handler();
  }

}

static void MX_GPIO_Init(void)
{
  GPIO_InitTypeDef GPIO_InitStruct = {0};

  /* GPIO Ports Clock Enable */
  __HAL_RCC_GPIOE_CLK_ENABLE();
  __HAL_RCC_GPIOC_CLK_ENABLE();
  __HAL_RCC_GPIOF_CLK_ENABLE();
  __HAL_RCC_GPIOH_CLK_ENABLE();
  __HAL_RCC_GPIOA_CLK_ENABLE();
  __HAL_RCC_GPIOB_CLK_ENABLE();
  __HAL_RCC_GPIOG_CLK_ENABLE();
  __HAL_RCC_GPIOD_CLK_ENABLE();

  /*Configure GPIO pin Output Level */
  HAL_GPIO_WritePin(GPIOF, EXT_LED_RED_Pin|EXT_LED_GREEN_Pin|BUS_5V_FET_Pin, GPIO_PIN_RESET);

  /*Configure GPIO pin Output Level */
  HAL_GPIO_WritePin(GPIOG, LED_RED_Pin|CT_FET_Pin|GNSS_FET_Pin|GNSS_EXTINT_Pin
                          |IMU_INT_Pin|IMU_nRESET_Pin, GPIO_PIN_RESET);

  /*Configure GPIO pin Output Level */
  HAL_GPIO_WritePin(LED_GREEN_GPIO_Port, LED_GREEN_Pin, GPIO_PIN_RESET);

  /*Configure GPIO pin Output Level */
  HAL_GPIO_WritePin(GPIOD, TEMP_FET_Pin|IRIDIUM_FET_Pin|RF_SWITCH_VCTL_Pin|RF_SWITCH_EN_Pin, GPIO_PIN_RESET);

  /*Configure GPIO pin Output Level */
  HAL_GPIO_WritePin(IRIDIUM_OnOff_GPIO_Port, IRIDIUM_OnOff_Pin, GPIO_PIN_SET);

  /*Configure GPIO pin Output Level */
  HAL_GPIO_WritePin(GPIOB, UCPD_DBn_Pin|LED_BLUE_Pin, GPIO_PIN_RESET);

  /*Configure GPIO pins : PE2 PE3 PE4 PE5
                           PE6 PE7 PE8 PE9
                           PE10 PE11 PE12 PE13
                           PE14 PE15 PE0 PE1 */
  GPIO_InitStruct.Pin = GPIO_PIN_2|GPIO_PIN_3|GPIO_PIN_4|GPIO_PIN_5
                          |GPIO_PIN_6|GPIO_PIN_7|GPIO_PIN_8|GPIO_PIN_9
                          |GPIO_PIN_10|GPIO_PIN_11|GPIO_PIN_12|GPIO_PIN_13
                          |GPIO_PIN_14|GPIO_PIN_15|GPIO_PIN_0|GPIO_PIN_1;
  GPIO_InitStruct.Mode = GPIO_MODE_ANALOG;
  GPIO_InitStruct.Pull = GPIO_NOPULL;
  HAL_GPIO_Init(GPIOE, &GPIO_InitStruct);

  /*Configure GPIO pin : USER_BUTTON_Pin */
  GPIO_InitStruct.Pin = USER_BUTTON_Pin;
  GPIO_InitStruct.Mode = GPIO_MODE_IT_FALLING;
  GPIO_InitStruct.Pull = GPIO_NOPULL;
  HAL_GPIO_Init(USER_BUTTON_GPIO_Port, &GPIO_InitStruct);

  /*Configure GPIO pins : EXT_LED_RED_Pin EXT_LED_GREEN_Pin BUS_5V_FET_Pin */
  GPIO_InitStruct.Pin = EXT_LED_RED_Pin|EXT_LED_GREEN_Pin|BUS_5V_FET_Pin;
  GPIO_InitStruct.Mode = GPIO_MODE_OUTPUT_PP;
  GPIO_InitStruct.Pull = GPIO_NOPULL;
  GPIO_InitStruct.Speed = GPIO_SPEED_FREQ_LOW;
  HAL_GPIO_Init(GPIOF, &GPIO_InitStruct);

  /*Configure GPIO pins : PF3 PF4 PF5 PF6
                           PF7 PF8 PF9 PF10
                           PF11 PF12 PF13 PF14 */
  GPIO_InitStruct.Pin = GPIO_PIN_3|GPIO_PIN_4|GPIO_PIN_5|GPIO_PIN_6
                          |GPIO_PIN_7|GPIO_PIN_8|GPIO_PIN_9|GPIO_PIN_10
                          |GPIO_PIN_11|GPIO_PIN_12|GPIO_PIN_13|GPIO_PIN_14;
  GPIO_InitStruct.Mode = GPIO_MODE_ANALOG;
  GPIO_InitStruct.Pull = GPIO_NOPULL;
  HAL_GPIO_Init(GPIOF, &GPIO_InitStruct);

  /*Configure GPIO pins : PH0 PH1 PH3 */
  GPIO_InitStruct.Pin = GPIO_PIN_0|GPIO_PIN_1|GPIO_PIN_3;
  GPIO_InitStruct.Mode = GPIO_MODE_ANALOG;
  GPIO_InitStruct.Pull = GPIO_NOPULL;
  HAL_GPIO_Init(GPIOH, &GPIO_InitStruct);

  /*Configure GPIO pins : PC0 PC1 PC2 PC3
                           PC6 PC8 PC9 */
  GPIO_InitStruct.Pin = GPIO_PIN_0|GPIO_PIN_1|GPIO_PIN_2|GPIO_PIN_3
                          |GPIO_PIN_6|GPIO_PIN_8|GPIO_PIN_9;
  GPIO_InitStruct.Mode = GPIO_MODE_ANALOG;
  GPIO_InitStruct.Pull = GPIO_NOPULL;
  HAL_GPIO_Init(GPIOC, &GPIO_InitStruct);

  /*Configure GPIO pins : PA0 PA1 PA4 PA5
                           PA6 PA7 PA8 PA11
                           PA12 UCPD1_CC1_Pin */
  GPIO_InitStruct.Pin = GPIO_PIN_0|GPIO_PIN_1|GPIO_PIN_4|GPIO_PIN_5
                          |GPIO_PIN_6|GPIO_PIN_7|GPIO_PIN_8|GPIO_PIN_11
                          |GPIO_PIN_12|UCPD1_CC1_Pin;
  GPIO_InitStruct.Mode = GPIO_MODE_ANALOG;
  GPIO_InitStruct.Pull = GPIO_NOPULL;
  HAL_GPIO_Init(GPIOA, &GPIO_InitStruct);

  /*Configure GPIO pins : PB0 PB1 PB2 PB10
                           PB11 PB13 UCPD1_CC2_Pin PB4
                           PB6 PB8 PB9 */
  GPIO_InitStruct.Pin = GPIO_PIN_0|GPIO_PIN_1|GPIO_PIN_2|GPIO_PIN_10
                          |GPIO_PIN_11|GPIO_PIN_13|UCPD1_CC2_Pin|GPIO_PIN_4
                          |GPIO_PIN_6|GPIO_PIN_8|GPIO_PIN_9;
  GPIO_InitStruct.Mode = GPIO_MODE_ANALOG;
  GPIO_InitStruct.Pull = GPIO_NOPULL;
  HAL_GPIO_Init(GPIOB, &GPIO_InitStruct);

  /*Configure GPIO pins : PG0 PG1 PG5 PG6
                           PG7 PG8 PG15 */
  GPIO_InitStruct.Pin = GPIO_PIN_0|GPIO_PIN_1|GPIO_PIN_5|GPIO_PIN_6
                          |GPIO_PIN_7|GPIO_PIN_8|GPIO_PIN_15;
  GPIO_InitStruct.Mode = GPIO_MODE_ANALOG;
  GPIO_InitStruct.Pull = GPIO_NOPULL;
  HAL_GPIO_Init(GPIOG, &GPIO_InitStruct);

  /*Configure GPIO pin : UCPD_FLT_Pin */
  GPIO_InitStruct.Pin = UCPD_FLT_Pin;
  GPIO_InitStruct.Mode = GPIO_MODE_INPUT;
  GPIO_InitStruct.Pull = GPIO_NOPULL;
  HAL_GPIO_Init(UCPD_FLT_GPIO_Port, &GPIO_InitStruct);

  /*Configure GPIO pins : PD8 PD9 PD10 PD11
                           PD12 PD13 PD14 PD15 */
  GPIO_InitStruct.Pin = GPIO_PIN_8|GPIO_PIN_9|GPIO_PIN_10|GPIO_PIN_11
                          |GPIO_PIN_12|GPIO_PIN_13|GPIO_PIN_14|GPIO_PIN_15;
  GPIO_InitStruct.Mode = GPIO_MODE_ANALOG;
  GPIO_InitStruct.Pull = GPIO_NOPULL;
  HAL_GPIO_Init(GPIOD, &GPIO_InitStruct);

  /*Configure GPIO pins : LED_RED_Pin CT_FET_Pin GNSS_FET_Pin GNSS_EXTINT_Pin
                           IMU_INT_Pin IMU_nRESET_Pin */
  GPIO_InitStruct.Pin = LED_RED_Pin|CT_FET_Pin|GNSS_FET_Pin|GNSS_EXTINT_Pin
                          |IMU_INT_Pin|IMU_nRESET_Pin;
  GPIO_InitStruct.Mode = GPIO_MODE_OUTPUT_PP;
  GPIO_InitStruct.Pull = GPIO_NOPULL;
  GPIO_InitStruct.Speed = GPIO_SPEED_FREQ_LOW;
  HAL_GPIO_Init(GPIOG, &GPIO_InitStruct);

  /*Configure GPIO pin : LED_GREEN_Pin */
  GPIO_InitStruct.Pin = LED_GREEN_Pin;
  GPIO_InitStruct.Mode = GPIO_MODE_OUTPUT_PP;
  GPIO_InitStruct.Pull = GPIO_PULLUP;
  GPIO_InitStruct.Speed = GPIO_SPEED_FREQ_HIGH;
  HAL_GPIO_Init(LED_GREEN_GPIO_Port, &GPIO_InitStruct);

  /*Configure GPIO pins : USART1_TX_Pin USART1_RX_Pin */
  GPIO_InitStruct.Pin = USART1_TX_Pin|USART1_RX_Pin;
  GPIO_InitStruct.Mode = GPIO_MODE_AF_PP;
  GPIO_InitStruct.Pull = GPIO_PULLDOWN;
  GPIO_InitStruct.Speed = GPIO_SPEED_FREQ_VERY_HIGH;
  GPIO_InitStruct.Alternate = GPIO_AF7_USART1;
  HAL_GPIO_Init(GPIOA, &GPIO_InitStruct);

  /*Configure GPIO pins : TEMP_FET_Pin IRIDIUM_FET_Pin RF_SWITCH_VCTL_Pin RF_SWITCH_EN_Pin */
  GPIO_InitStruct.Pin = TEMP_FET_Pin|IRIDIUM_FET_Pin|RF_SWITCH_VCTL_Pin|RF_SWITCH_EN_Pin;
  GPIO_InitStruct.Mode = GPIO_MODE_OUTPUT_PP;
  GPIO_InitStruct.Pull = GPIO_NOPULL;
  GPIO_InitStruct.Speed = GPIO_SPEED_FREQ_LOW;
  HAL_GPIO_Init(GPIOD, &GPIO_InitStruct);

  /*Configure GPIO pins : IRIDIUM_NetAv_Pin IRIDIUM_RI_Pin */
  GPIO_InitStruct.Pin = IRIDIUM_NetAv_Pin|IRIDIUM_RI_Pin;
  GPIO_InitStruct.Mode = GPIO_MODE_INPUT;
  GPIO_InitStruct.Pull = GPIO_NOPULL;
  HAL_GPIO_Init(GPIOD, &GPIO_InitStruct);

  /*Configure GPIO pin : IRIDIUM_OnOff_Pin */
  GPIO_InitStruct.Pin = IRIDIUM_OnOff_Pin;
  GPIO_InitStruct.Mode = GPIO_MODE_OUTPUT_OD;
  GPIO_InitStruct.Pull = GPIO_NOPULL;
  GPIO_InitStruct.Speed = GPIO_SPEED_FREQ_LOW;
  HAL_GPIO_Init(IRIDIUM_OnOff_GPIO_Port, &GPIO_InitStruct);

  /*Configure GPIO pins : UCPD_DBn_Pin LED_BLUE_Pin */
  GPIO_InitStruct.Pin = UCPD_DBn_Pin|LED_BLUE_Pin;
  GPIO_InitStruct.Mode = GPIO_MODE_OUTPUT_PP;
  GPIO_InitStruct.Pull = GPIO_NOPULL;
  GPIO_InitStruct.Speed = GPIO_SPEED_FREQ_LOW;
  HAL_GPIO_Init(GPIOB, &GPIO_InitStruct);

/* USER CODE BEGIN MX_GPIO_Init_2 */
  GPIO_InitStruct.Pin = IRIDIUM_OnOff_Pin;
#ifdef ROCK_BLOCK_V3D
  GPIO_InitStruct.Mode = GPIO_MODE_OUTPUT_PP;
#else
  GPIO_InitStruct.Mode = GPIO_MODE_OUTPUT_OD;
#endif
  GPIO_InitStruct.Pull = GPIO_NOPULL;
  GPIO_InitStruct.Speed = GPIO_SPEED_FREQ_LOW;
  HAL_GPIO_Init(IRIDIUM_OnOff_GPIO_Port, &GPIO_InitStruct);
/* USER CODE END MX_GPIO_Init_2 */
}

void Error_Handler(void)
{
  /* USER CODE BEGIN Error_Handler_Debug */
  /* User can add his own implementation to report the HAL error return state */
  __disable_irq();
  HAL_NVIC_SystemReset();
  while (1)
  {
	  shut_it_all_down();
	  HAL_NVIC_SystemReset();
  }
  /* USER CODE END Error_Handler_Debug */
}
